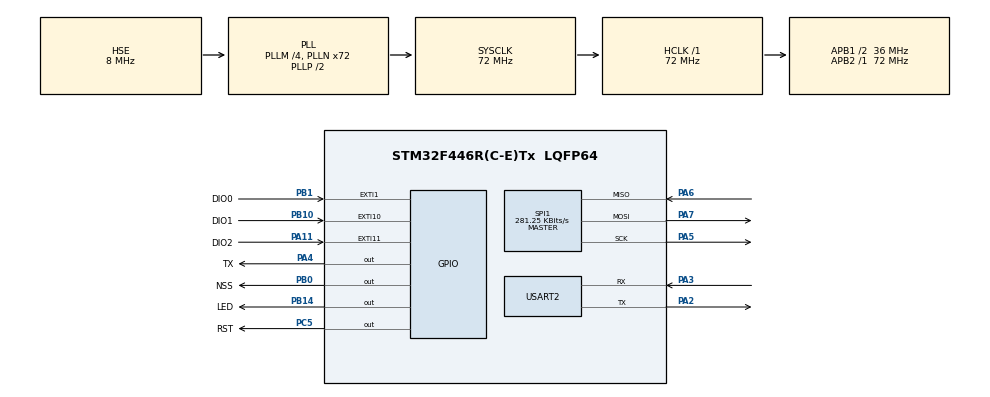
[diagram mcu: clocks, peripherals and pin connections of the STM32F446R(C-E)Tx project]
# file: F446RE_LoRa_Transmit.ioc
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Mcu.Family=STM32F4
Mcu.Name=STM32F446R(C-E)Tx
Mcu.Package=LQFP64
NVIC.EXTI15_10_IRQn=true\:0\:0\:false\:false\:true\:true\:true\:true
NVIC.EXTI1_IRQn=true\:0\:0\:false\:false\:true\:true\:true\:true
NVIC.PriorityGroup=NVIC_PRIORITYGROUP_4
PA11.GPIO_Label=DIO2
PA11.Signal=GPXTI11
PA13.Mode=Serial_Wire
PA13.Signal=SYS_JTMS-SWDIO
PA14.Mode=Serial_Wire
PA14.Signal=SYS_JTCK-SWCLK
PA2.Mode=Asynchronous
PA2.Signal=USART2_TX
PA3.Mode=Asynchronous
PA3.Signal=USART2_RX
PA4.GPIO_Label=TX
PA4.Signal=GPIO_Output
PA5.Mode=Full_Duplex_Master
PA5.Signal=SPI1_SCK
PA6.Mode=Full_Duplex_Master
PA6.Signal=SPI1_MISO
PA7.Mode=Full_Duplex_Master
PA7.Signal=SPI1_MOSI
PB0.GPIO_Label=NSS
PB0.Signal=GPIO_Output
PB1.GPIO_Label=DIO0
PB1.Signal=GPXTI1
PB10.GPIO_Label=DIO1
PB10.Signal=GPXTI10
PB14.GPIO_Label=LED
PB14.Signal=GPIO_Output
PC14-OSC32_IN.Mode=LSE-External-Oscillator
PC14-OSC32_IN.Signal=RCC_OSC32_IN
PC15-OSC32_OUT.Mode=LSE-External-Oscillator
PC15-OSC32_OUT.Signal=RCC_OSC32_OUT
PC5.GPIO_Label=RST
PC5.Signal=GPIO_Output
PH0-OSC_IN.Mode=HSE-External-Oscillator
PH0-OSC_IN.Signal=RCC_OSC_IN
PH1-OSC_OUT.Mode=HSE-External-Oscillator
PH1-OSC_OUT.Signal=RCC_OSC_OUT
ProjectManager.HeapSize=0x200
ProjectManager.StackSize=0x400
ProjectManager.TargetToolchain=STM32CubeIDE
RCC.AHBFreq_Value=72000000
RCC.APB1CLKDivider=RCC_HCLK_DIV2
RCC.APB1Freq_Value=36000000
RCC.APB1TimFreq_Value=72000000
RCC.APB2Freq_Value=72000000
RCC.APB2TimFreq_Value=72000000
RCC.CortexFreq_Value=72000000
RCC.HCLKFreq_Value=72000000
RCC.HSE_VALUE=8000000
RCC.PLLM=4
RCC.PLLN=72
RCC.PLLSourceVirtual=RCC_PLLSOURCE_HSE
RCC.SYSCLKFreq_VALUE=72000000
RCC.SYSCLKSource=RCC_SYSCLKSOURCE_PLLCLK
RCC.USBFreq_Value=72000000
RCC.VCOOutputFreq_Value=144000000
SPI1.BaudRatePrescaler=SPI_BAUDRATEPRESCALER_256
SPI1.CalculateBaudRate=281.25 KBits/s
SPI1.Direction=SPI_DIRECTION_2LINES
SPI1.Mode=SPI_MODE_MASTER
SPI1.VirtualType=VM_MASTER
USART2.VirtualMode=VM_ASYNC
board=custom

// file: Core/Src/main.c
/* USER CODE BEGIN Header */
/**
  ******************************************************************************
  * @file           : main.c
  * @brief          : Main program body
  ******************************************************************************
  * @attention
  *
  * Copyright (c) 2022 STMicroelectronics.
  * All rights reserved.
  *
  * This software is licensed under terms that can be found in the LICENSE file
  * in the root directory of this software component.
  * If no LICENSE file comes with this software, it is provided AS-IS.
  *
  ******************************************************************************
  */
/* USER CODE END Header */
#include "main.h"

/* USER CODE BEGIN Includes */
#include "lora_sx1276.h"
/* USER CODE END Includes */

 SPI_HandleTypeDef hspi1;

UART_HandleTypeDef huart2;

/* USER CODE BEGIN PV */
//GPIO_HandleTypeDef pb0_nss;
static uint8_t send_data[1024];
/* USER CODE END PV */

void SystemClock_Config(void);
static void MX_GPIO_Init(void);
static void MX_SPI1_Init(void);
static void MX_USART2_UART_Init(void);

/* USER CODE BEGIN 0 */
uint8_t data[] = "HELLO WORLD\n\r";
uint8_t failed[] = "Interfacing FAILED \n\r";
uint8_t success[] = "Interfacing SUCCESS \n\r";
/* USER CODE END 0 */

int main(void)
{
  /* USER CODE BEGIN 1 */
	//send_data = (uint8_t *) malloc(sizeof(uint8_t)*1024);

  /* USER CODE END 1 */

  /* MCU Configuration--------------------------------------------------------*/

  /* Reset of all peripherals, Initializes the Flash interface and the Systick. */
  HAL_Init();

  /* Configure the system clock */
  SystemClock_Config();

  /* Initialize all configured peripherals */
  MX_GPIO_Init();
  MX_SPI1_Init();
  MX_USART2_UART_Init();
  /* USER CODE BEGIN 2 */

//  for(uint16_t i = 0; i < 1024; i++){
//	  send_data[i] = i%256;
// }

  HAL_GPIO_WritePin(RST_GPIO_Port, RST_Pin, GPIO_PIN_RESET);
  HAL_Delay(100);
  HAL_GPIO_WritePin(RST_GPIO_Port, RST_Pin, GPIO_PIN_SET);
  lora_sx1276 lora;
  uint8_t version =  lora_version(&lora); //this line hard faults

  uint8_t res = lora_init(&lora, &hspi1, NSS_GPIO_Port, NSS_Pin, LORA_BASE_FREQUENCY_US);
    if (res != LORA_OK) {
      // Initialization failed
    	HAL_UART_Transmit(&huart2, res, sizeof(res), 1000);
    }
    else{
    	HAL_UART_Transmit(&huart2, success, sizeof(success), 1000);
    }
//
    uint8_t test_data[255];
    for(uint8_t n = 0; n < 255; n++){
    	test_data[n] = n%255;
    }

    uint8_t loop = 0;
    uint8_t packet_test;
//    for(uint8_t i = 0; i < 4; i++){
    while (loop < 4) {
    	 packet_test = lora_send_packet(&lora, test_data, 255);
		 if (packet_test != LORA_OK) {
			  HAL_UART_Transmit(&huart2, failed, sizeof(failed), 1000);
		  } else {
			  HAL_UART_Transmit(&huart2, success, sizeof(success), 1000);
		  }
		 HAL_Delay(1000);
		 loop = loop + 1;

    }

//    }

  /* USER CODE END 2 */

  /* Infinite loop */
  while (1)
  {

  }
}

void SystemClock_Config(void)
{
  RCC_OscInitTypeDef RCC_OscInitStruct = {0};
  RCC_ClkInitTypeDef RCC_ClkInitStruct = {0};

  /** Configure the main internal regulator output voltage
  */
  __HAL_RCC_PWR_CLK_ENABLE();
  __HAL_PWR_VOLTAGESCALING_CONFIG(PWR_REGULATOR_VOLTAGE_SCALE3);

  /** Initializes the RCC Oscillators according to the specified parameters
  * in the RCC_OscInitTypeDef structure.
  */
  RCC_OscInitStruct.OscillatorType = RCC_OSCILLATORTYPE_HSE;
  RCC_OscInitStruct.HSEState = RCC_HSE_ON;
  RCC_OscInitStruct.PLL.PLLState = RCC_PLL_ON;
  RCC_OscInitStruct.PLL.PLLSource = RCC_PLLSOURCE_HSE;
  RCC_OscInitStruct.PLL.PLLM = 4;
  RCC_OscInitStruct.PLL.PLLN = 72;
  RCC_OscInitStruct.PLL.PLLP = RCC_PLLP_DIV2;
  RCC_OscInitStruct.PLL.PLLQ = 2;
  RCC_OscInitStruct.PLL.PLLR = 2;
  if (HAL_RCC_OscConfig(&RCC_OscInitStruct) != HAL_OK)
  {
    Error_Handler();
  }

  /** Initializes the CPU, AHB and APB buses clocks
  */
  RCC_ClkInitStruct.ClockType = RCC_CLOCKTYPE_HCLK|RCC_CLOCKTYPE_SYSCLK
                              |RCC_CLOCKTYPE_PCLK1|RCC_CLOCKTYPE_PCLK2;
  RCC_ClkInitStruct.SYSCLKSource = RCC_SYSCLKSOURCE_PLLCLK;
  RCC_ClkInitStruct.AHBCLKDivider = RCC_SYSCLK_DIV1;
  RCC_ClkInitStruct.APB1CLKDivider = RCC_HCLK_DIV2;
  RCC_ClkInitStruct.APB2CLKDivider = RCC_HCLK_DIV1;

  if (HAL_RCC_ClockConfig(&RCC_ClkInitStruct, FLASH_LATENCY_2) != HAL_OK)
  {
    Error_Handler();
  }
}

static void MX_SPI1_Init(void)
{

  /* SPI1 parameter configuration*/
  hspi1.Instance = SPI1;
  hspi1.Init.Mode = SPI_MODE_MASTER;
  hspi1.Init.Direction = SPI_DIRECTION_2LINES;
  hspi1.Init.DataSize = SPI_DATASIZE_8BIT;
  hspi1.Init.CLKPolarity = SPI_POLARITY_LOW;
  hspi1.Init.CLKPhase = SPI_PHASE_1EDGE;
  hspi1.Init.NSS = SPI_NSS_SOFT;
  hspi1.Init.BaudRatePrescaler = SPI_BAUDRATEPRESCALER_256;
  hspi1.Init.FirstBit = SPI_FIRSTBIT_MSB;
  hspi1.Init.TIMode = SPI_TIMODE_DISABLE;
  hspi1.Init.CRCCalculation = SPI_CRCCALCULATION_DISABLE;
  hspi1.Init.CRCPolynomial = 10;
  if (HAL_SPI_Init(&hspi1) != HAL_OK)
  {
    Error_Handler();
  }

}

static void MX_USART2_UART_Init(void)
{

  huart2.Instance = USART2;
  huart2.Init.BaudRate = 115200;
  huart2.Init.WordLength = UART_WORDLENGTH_8B;
  huart2.Init.StopBits = UART_STOPBITS_1;
  huart2.Init.Parity = UART_PARITY_NONE;
  huart2.Init.Mode = UART_MODE_TX_RX;
  huart2.Init.HwFlowCtl = UART_HWCONTROL_NONE;
  huart2.Init.OverSampling = UART_OVERSAMPLING_16;
  if (HAL_UART_Init(&huart2) != HAL_OK)
  {
    Error_Handler();
  }

}

static void MX_GPIO_Init(void)
{
  GPIO_InitTypeDef GPIO_InitStruct = {0};

  /* GPIO Ports Clock Enable */
  __HAL_RCC_GPIOC_CLK_ENABLE();
  __HAL_RCC_GPIOH_CLK_ENABLE();
  __HAL_RCC_GPIOA_CLK_ENABLE();
  __HAL_RCC_GPIOB_CLK_ENABLE();

  /*Configure GPIO pin Output Level */
  HAL_GPIO_WritePin(TX_GPIO_Port, TX_Pin, GPIO_PIN_RESET);

  /*Configure GPIO pin Output Level */
  HAL_GPIO_WritePin(RST_GPIO_Port, RST_Pin, GPIO_PIN_RESET);

  /*Configure GPIO pin Output Level */
  HAL_GPIO_WritePin(GPIOB, NSS_Pin|LED_Pin, GPIO_PIN_RESET);

  /*Configure GPIO pin : TX_Pin */
  GPIO_InitStruct.Pin = TX_Pin;
  GPIO_InitStruct.Mode = GPIO_MODE_OUTPUT_PP;
  GPIO_InitStruct.Pull = GPIO_NOPULL;
  GPIO_InitStruct.Speed = GPIO_SPEED_FREQ_LOW;
  HAL_GPIO_Init(TX_GPIO_Port, &GPIO_InitStruct);

  /*Configure GPIO pin : RST_Pin */
  GPIO_InitStruct.Pin = RST_Pin;
  GPIO_InitStruct.Mode = GPIO_MODE_OUTPUT_PP;
  GPIO_InitStruct.Pull = GPIO_NOPULL;
  GPIO_InitStruct.Speed = GPIO_SPEED_FREQ_LOW;
  HAL_GPIO_Init(RST_GPIO_Port, &GPIO_InitStruct);

  /*Configure GPIO pins : NSS_Pin LED_Pin */
  GPIO_InitStruct.Pin = NSS_Pin|LED_Pin;
  GPIO_InitStruct.Mode = GPIO_MODE_OUTPUT_PP;
  GPIO_InitStruct.Pull = GPIO_NOPULL;
  GPIO_InitStruct.Speed = GPIO_SPEED_FREQ_LOW;
  HAL_GPIO_Init(GPIOB, &GPIO_InitStruct);

  /*Configure GPIO pins : DIO0_Pin DIO1_Pin */
  GPIO_InitStruct.Pin = DIO0_Pin|DIO1_Pin;
  GPIO_InitStruct.Mode = GPIO_MODE_IT_RISING;
  GPIO_InitStruct.Pull = GPIO_NOPULL;
  HAL_GPIO_Init(GPIOB, &GPIO_InitStruct);

  /*Configure GPIO pin : DIO2_Pin */
  GPIO_InitStruct.Pin = DIO2_Pin;
  GPIO_InitStruct.Mode = GPIO_MODE_IT_RISING;
  GPIO_InitStruct.Pull = GPIO_NOPULL;
  HAL_GPIO_Init(DIO2_GPIO_Port, &GPIO_InitStruct);

  /* EXTI interrupt init*/
  HAL_NVIC_SetPriority(EXTI1_IRQn, 0, 0);
  HAL_NVIC_EnableIRQ(EXTI1_IRQn);

  HAL_NVIC_SetPriority(EXTI15_10_IRQn, 0, 0);
  HAL_NVIC_EnableIRQ(EXTI15_10_IRQn);

}

void Error_Handler(void)
{
  __disable_irq();
  while (1)
  {
  }
}
